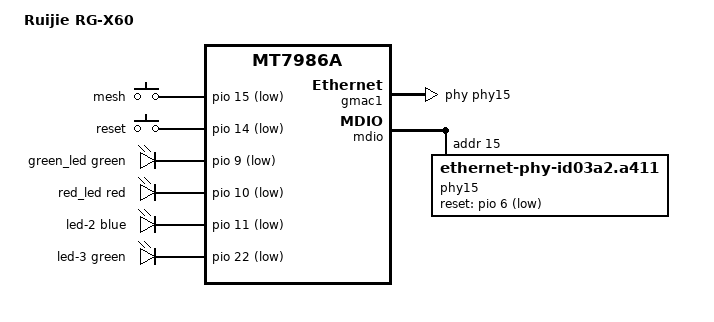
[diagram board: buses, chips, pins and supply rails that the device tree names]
// SPDX-License-Identifier: GPL-2.0-or-later OR MIT

/dts-v1/;
#include "mt7986a-ruijie-rg-x60.dtsi"

/ {
	model = "Ruijie RG-X60";
	compatible = "ruijie,rg-x60", "mediatek,mt7986a";

	aliases {
		led-boot = &red_led;
		led-failsafe = &red_led;
		led-running = &green_led;
		led-upgrade = &green_led;
	};

	gpio-keys {
		compatible = "gpio-keys";

		button-mesh {
			label = "mesh";
			linux,code = <BTN_9>;
			linux,input-type = <EV_SW>;
			gpios = <&pio 15 GPIO_ACTIVE_LOW>;
		};

		button-reset {
			label = "reset";
			linux,code = <KEY_RESTART>;
			gpios = <&pio 14 GPIO_ACTIVE_LOW>;
		};
	};

	gpio-leds {
		compatible = "gpio-leds";

		green_led: led-0 {
			color = <LED_COLOR_ID_GREEN>;
			function = LED_FUNCTION_STATUS;
			gpios = <&pio 9 GPIO_ACTIVE_LOW>;
		};

		red_led: led-1 {
			color = <LED_COLOR_ID_RED>;
			function = LED_FUNCTION_STATUS;
			gpios = <&pio 10 GPIO_ACTIVE_LOW>;
		};

		led-2 {
			color = <LED_COLOR_ID_BLUE>;
			function = LED_FUNCTION_STATUS;
			gpios = <&pio 11 GPIO_ACTIVE_LOW>;
		};

		led-3 {
			color = <LED_COLOR_ID_GREEN>;
			function = "mesh";
			gpios = <&pio 22 GPIO_ACTIVE_LOW>;
		};
	};
};

&gmac1 {
	phy-handle = <&phy15>;
};

&mdio {
	phy15: phy@f {
		compatible = "ethernet-phy-id03a2.a411";
		reg = <15>;
		reset-gpios = <&pio 6 GPIO_ACTIVE_LOW>;
		reset-assert-us = <10000>;
		reset-deassert-us = <10000>;
	};
};

&switch {
	ports {
		#address-cells = <1>;
		#size-cells = <0>;

		port@1 {
			reg = <1>;
			label = "lan1";
		};

		port@2 {
			reg = <2>;
			label = "lan2";
		};

		port@3 {
			reg = <3>;
			label = "lan3";
		};

		port@6 {
			reg = <6>;
			ethernet = <&gmac0>;
			phy-mode = "2500base-x";

			fixed-link {
				speed = <2500>;
				full-duplex;
				pause;
			};
		};
	};
};
